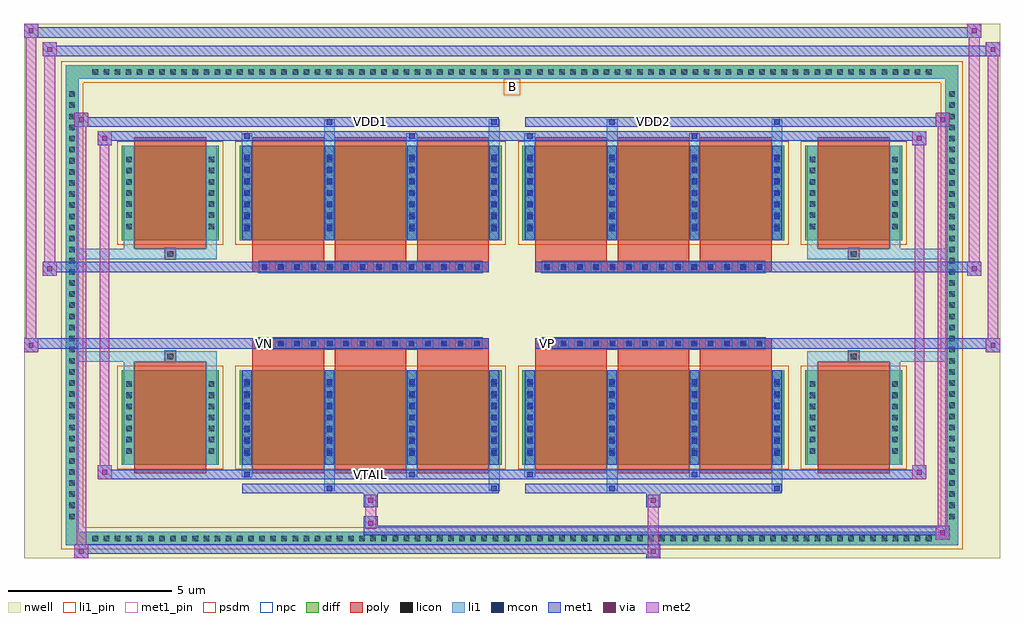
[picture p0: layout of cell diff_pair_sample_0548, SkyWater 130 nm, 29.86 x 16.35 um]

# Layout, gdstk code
import gdstk
lib = gdstk.Library(unit=1e-6, precision=5e-09)
def R(c, l, rs):  # rectangles x0, y0, x1, y1
    for r in rs: c.add(gdstk.rectangle(r[:2], r[2:], *l))
def A(c, l, x, y, w, h, nx, ny, dx, dy):  # array of equal rectangles
    R(c, l, [(x+i*dx, y+j*dy, x+i*dx+w, y+j*dy+h) for i in range(nx) for j in range(ny)])
def P(c, l, *ps):  # polygons
    for p in ps: c.add(gdstk.Polygon(p, *l))
nwell = (64, 20)
diff = (65, 20)
poly = (66, 20)
licon = (66, 44)
li1_pin = (67, 16)
li1 = (67, 20)
mcon = (67, 44)
met1_pin = (68, 16)
met1 = (68, 20)
via = (68, 44)
met2 = (69, 20)
psdm = (94, 20)
npc = (95, 20)

diff_pair_sample_0548 = lib.new_cell('diff_pair_sample_0548')
R(diff_pair_sample_0548, nwell, [(-14.93,-7.74,14.93,8.61), (-12.25,-5.93,-0.01,-0.805), (0.01,-5.93,12.25,-0.805), (-12.25,0.805,-0.01,5.93), (0.01,0.805,12.25,5.93)])
A(diff_pair_sample_0548, diff, -12.955, -7.34, 0.41, 0.41, 76, 2, 0.34, 14.27)
A(diff_pair_sample_0548, diff, -13.66, -6.665, 0.41, 0.41, 1, 39, 0, 0.34)
A(diff_pair_sample_0548, diff, 13.25, -6.665, 0.41, 0.41, 1, 39, 0, 0.34)
R(diff_pair_sample_0548, diff, [(-12.955,-7.34,12.955,-6.93), (-13.66,-6.665,-13.25,6.665), (13.25,-6.665,13.66,6.665), (-11.94,-4.885,-8.97,-1.985), (-8.33,-4.885,-0.32,-1.985), (0.32,-4.885,8.33,-1.985), (8.97,-4.885,11.94,-1.985), (-11.94,1.985,-8.97,4.885), (-8.33,1.985,-0.32,4.885), (0.32,1.985,8.33,4.885), (8.97,1.985,11.94,4.885), (-12.955,6.93,12.955,7.34)])
P(diff_pair_sample_0548, diff, [(13.66,7.34),(-13.66,7.34),(-13.66,-6.93),(-13.25,-6.93),(-13.25,6.93),(13.25,6.93),(13.25,-6.93),(-13.25,-6.93),(-13.66,-6.93),(-13.66,-7.34),(13.66,-7.34)])
A(diff_pair_sample_0548, poly, -7.94, -5.135, 2.19, 3.4, 3, 2, 2.52, 6.87)
A(diff_pair_sample_0548, poly, 0.71, -5.135, 2.19, 3.4, 3, 2, 2.52, 6.87)
A(diff_pair_sample_0548, poly, -7.94, -1.735, 2.19, 0.4, 3, 2, 2.52, 3.07)
A(diff_pair_sample_0548, poly, 0.71, -1.735, 2.19, 0.4, 3, 2, 2.52, 3.07)
A(diff_pair_sample_0548, poly, -7.74, -1.335, 0.33, 0.33, 14, 2, 0.5, 2.34)
A(diff_pair_sample_0548, poly, 0.91, -1.335, 0.33, 0.33, 14, 2, 0.5, 2.34)
R(diff_pair_sample_0548, poly, [(-11.55,-5.135,-9.36,-1.735), (9.36,-5.135,11.55,-1.735), (-10.62,-1.735,-10.29,-1.405), (-10.62,-1.735,-10.29,-1.405), (10.29,-1.735,10.62,-1.405), (10.29,-1.735,10.62,-1.405), (-7.94,-1.335,-0.71,-1.005), (0.71,-1.335,7.94,-1.005), (-7.94,1.005,-0.71,1.335), (0.71,1.005,7.94,1.335), (-10.62,1.405,-10.29,1.735), (-10.62,1.405,-10.29,1.735), (10.29,1.405,10.62,1.735), (10.29,1.405,10.62,1.735), (-11.55,1.735,-9.36,5.135), (9.36,1.735,11.55,5.135)])
A(diff_pair_sample_0548, licon, -12.835, -7.22, 0.17, 0.17, 76, 2, 0.34, 14.27)
A(diff_pair_sample_0548, licon, -13.54, -6.545, 0.17, 0.17, 1, 39, 0, 0.34)
A(diff_pair_sample_0548, licon, 13.37, -6.545, 0.17, 0.17, 1, 39, 0, 0.34)
A(diff_pair_sample_0548, licon, -11.8, -4.54, 0.17, 0.17, 1, 7, 0, 0.34)
A(diff_pair_sample_0548, licon, -9.28, -4.54, 0.17, 0.17, 1, 7, 0, 0.34)
A(diff_pair_sample_0548, licon, -8.19, -4.54, 0.17, 0.17, 4, 7, 2.52, 0.34)
A(diff_pair_sample_0548, licon, 0.46, -4.54, 0.17, 0.17, 4, 7, 2.52, 0.34)
A(diff_pair_sample_0548, licon, 9.11, -4.54, 0.17, 0.17, 1, 7, 0, 0.34)
A(diff_pair_sample_0548, licon, 11.63, -4.54, 0.17, 0.17, 1, 7, 0, 0.34)
A(diff_pair_sample_0548, licon, -7.66, -1.255, 0.17, 0.17, 14, 2, 0.5, 2.34)
A(diff_pair_sample_0548, licon, 0.99, -1.255, 0.17, 0.17, 14, 2, 0.5, 2.34)
A(diff_pair_sample_0548, licon, -11.8, 2.33, 0.17, 0.17, 1, 7, 0, 0.34)
A(diff_pair_sample_0548, licon, -9.28, 2.33, 0.17, 0.17, 1, 7, 0, 0.34)
A(diff_pair_sample_0548, licon, -8.19, 2.33, 0.17, 0.17, 4, 7, 2.52, 0.34)
A(diff_pair_sample_0548, licon, 0.46, 2.33, 0.17, 0.17, 4, 7, 2.52, 0.34)
A(diff_pair_sample_0548, licon, 9.11, 2.33, 0.17, 0.17, 1, 7, 0, 0.34)
A(diff_pair_sample_0548, licon, 11.63, 2.33, 0.17, 0.17, 1, 7, 0, 0.34)
R(diff_pair_sample_0548, licon, [(-10.54,-1.655,-10.37,-1.485), (10.37,-1.655,10.54,-1.485), (-10.54,1.485,-10.37,1.655), (10.37,1.485,10.54,1.655)])
R(diff_pair_sample_0548, li1_pin, [(-0.25,6.43,0.25,6.93)])
A(diff_pair_sample_0548, li1, -12.915, -7.3, 0.33, 0.33, 76, 2, 0.34, 14.27)
A(diff_pair_sample_0548, li1, -13.62, -6.625, 0.33, 0.33, 1, 39, 0, 0.34)
A(diff_pair_sample_0548, li1, 13.29, -6.625, 0.33, 0.33, 1, 39, 0, 0.34)
A(diff_pair_sample_0548, li1, -8.27, -4.885, 0.33, 2.9, 4, 2, 2.52, 6.87)
A(diff_pair_sample_0548, li1, 0.38, -4.885, 0.33, 2.9, 4, 2, 2.52, 6.87)
A(diff_pair_sample_0548, li1, -11.88, -4.62, 0.33, 0.33, 1, 7, 0, 0.34)
A(diff_pair_sample_0548, li1, -9.36, -4.62, 0.33, 0.33, 1, 7, 0, 0.34)
A(diff_pair_sample_0548, li1, -8.27, -4.62, 0.33, 0.33, 4, 7, 2.52, 0.34)
A(diff_pair_sample_0548, li1, 0.38, -4.62, 0.33, 0.33, 4, 7, 2.52, 0.34)
A(diff_pair_sample_0548, li1, 9.03, -4.62, 0.33, 0.33, 1, 7, 0, 0.34)
A(diff_pair_sample_0548, li1, 11.55, -4.62, 0.33, 0.33, 1, 7, 0, 0.34)
A(diff_pair_sample_0548, li1, -8.19, -4.6, 0.17, 0.17, 4, 7, 2.52, 0.36)
A(diff_pair_sample_0548, li1, -8.19, -4.6, 0.17, 2.33, 4, 2, 2.52, 6.87)
A(diff_pair_sample_0548, li1, 0.46, -4.6, 0.17, 0.17, 4, 7, 2.52, 0.36)
A(diff_pair_sample_0548, li1, 0.46, -4.6, 0.17, 2.33, 4, 2, 2.52, 6.87)
A(diff_pair_sample_0548, li1, -7.74, -1.335, 0.33, 0.33, 14, 2, 0.5, 2.34)
A(diff_pair_sample_0548, li1, 0.91, -1.335, 0.33, 0.33, 14, 2, 0.5, 2.34)
A(diff_pair_sample_0548, li1, -11.88, 2.25, 0.33, 0.33, 1, 7, 0, 0.34)
A(diff_pair_sample_0548, li1, -9.36, 2.25, 0.33, 0.33, 1, 7, 0, 0.34)
A(diff_pair_sample_0548, li1, -8.27, 2.25, 0.33, 0.33, 4, 7, 2.52, 0.34)
A(diff_pair_sample_0548, li1, 0.38, 2.25, 0.33, 0.33, 4, 7, 2.52, 0.34)
A(diff_pair_sample_0548, li1, 9.03, 2.25, 0.33, 0.33, 1, 7, 0, 0.34)
A(diff_pair_sample_0548, li1, 11.55, 2.25, 0.33, 0.33, 1, 7, 0, 0.34)
A(diff_pair_sample_0548, li1, -8.19, 2.27, 0.17, 0.17, 4, 7, 2.52, 0.36)
A(diff_pair_sample_0548, li1, 0.46, 2.27, 0.17, 0.17, 4, 7, 2.52, 0.36)
R(diff_pair_sample_0548, li1, [(-13.66,-7.34,-13.25,-6.93), (-13.66,-7.34,-13.25,-6.93), (-13.25,-7.34,13.25,-6.93), (13.25,-7.34,13.66,-6.93), (13.25,-7.34,13.66,-6.93), (-13.66,-6.93,-13.25,6.93), (13.25,-6.93,13.66,6.93), (-5.75,-5.69,-5.42,-4.885), (-5.67,-5.69,-5.5,-5.52), (-0.71,-5.69,-0.38,-4.885), (-0.63,-5.69,-0.46,-5.52), (2.9,-5.69,3.23,-4.885), (2.98,-5.69,3.15,-5.52), (7.94,-5.69,8.27,-4.885), (8.02,-5.69,8.19,-5.52), (-8.27,-5.26,-7.94,-4.885), (-8.19,-5.26,-8.02,-5.09), (-3.23,-5.26,-2.9,-4.885), (-3.15,-5.26,-2.98,-5.09), (0.38,-5.26,0.71,-4.885), (0.46,-5.26,0.63,-5.09), (5.42,-5.26,5.75,-4.885), (5.5,-5.26,5.67,-5.09), (-11.88,-4.885,-11.55,-1.985), (-9.36,-4.885,-9.03,-1.985), (9.03,-4.885,9.36,-1.985), (11.55,-4.885,11.88,-1.985), (-11.88,-1.985,-11.55,-1.405), (-9.36,-1.985,-9.03,-1.405), (9.03,-1.985,9.36,-1.405), (11.55,-1.985,11.88,-1.405), (-13.66,-1.735,-10.62,-1.405), (-11.88,-1.735,-10.62,-1.405), (-10.62,-1.735,-10.29,-1.405), (-10.29,-1.735,-9.03,-1.405), (9.03,-1.735,10.29,-1.405), (10.29,-1.735,10.62,-1.405), (10.29,-1.735,13.66,-1.405), (10.62,-1.735,11.88,-1.405), (-13.66,1.405,-10.62,1.735), (-11.88,1.405,-10.62,1.735), (-11.88,1.405,-11.55,1.985), (-10.62,1.405,-10.29,1.735), (-10.29,1.405,-9.03,1.735), (-9.36,1.405,-9.03,1.985), (9.03,1.405,10.29,1.735), (9.03,1.405,9.36,1.985), (10.29,1.405,10.62,1.735), (10.29,1.405,13.66,1.735), (10.62,1.405,11.88,1.735), (11.55,1.405,11.88,1.985), (-11.88,1.985,-11.55,4.885), (-9.36,1.985,-9.03,4.885), (9.03,1.985,9.36,4.885), (11.55,1.985,11.88,4.885), (-8.27,4.885,-7.94,5.26), (-5.75,4.885,-5.42,5.69), (-3.23,4.885,-2.9,5.26), (-0.71,4.885,-0.38,5.69), (0.38,4.885,0.71,5.26), (2.9,4.885,3.23,5.69), (5.42,4.885,5.75,5.26), (7.94,4.885,8.27,5.69), (-8.19,5.09,-8.02,5.26), (-3.15,5.09,-2.98,5.26), (0.46,5.09,0.63,5.26), (5.5,5.09,5.67,5.26), (-5.67,5.52,-5.5,5.69), (-0.63,5.52,-0.46,5.69), (2.98,5.52,3.15,5.69), (8.02,5.52,8.19,5.69), (-13.66,6.93,-13.25,7.34), (-13.66,6.93,-13.25,7.34), (-13.25,6.93,13.25,7.34), (13.25,6.93,13.66,7.34), (13.25,6.93,13.66,7.34)])
A(diff_pair_sample_0548, mcon, -8.19, -4.6, 0.17, 0.17, 4, 7, 2.52, 0.36)
A(diff_pair_sample_0548, mcon, 0.46, -4.6, 0.17, 0.17, 4, 7, 2.52, 0.36)
A(diff_pair_sample_0548, mcon, -7.66, -1.255, 0.17, 0.17, 14, 2, 0.5, 2.34)
A(diff_pair_sample_0548, mcon, 0.99, -1.255, 0.17, 0.17, 14, 2, 0.5, 2.34)
A(diff_pair_sample_0548, mcon, -8.19, 2.27, 0.17, 0.17, 4, 7, 2.52, 0.36)
A(diff_pair_sample_0548, mcon, 0.46, 2.27, 0.17, 0.17, 4, 7, 2.52, 0.36)
R(diff_pair_sample_0548, mcon, [(-5.67,-5.69,-5.5,-5.52), (-0.63,-5.69,-0.46,-5.52), (2.98,-5.69,3.15,-5.52), (8.02,-5.69,8.19,-5.52), (-8.19,-5.26,-8.02,-5.09), (-3.15,-5.26,-2.98,-5.09), (0.46,-5.26,0.63,-5.09), (5.5,-5.26,5.67,-5.09), (-8.19,5.09,-8.02,5.26), (-3.15,5.09,-2.98,5.26), (0.46,5.09,0.63,5.26), (5.5,5.09,5.67,5.26), (-5.67,5.52,-5.5,5.69), (-0.63,5.52,-0.46,5.69), (2.98,5.52,3.15,5.69), (8.02,5.52,8.19,5.69)])
R(diff_pair_sample_0548, met1_pin, [(-4.46,-5.3,-4.19,-5.03), (-7.71,-1.295,-7.44,-1.025), (0.94,-1.295,1.21,-1.025), (-4.46,5.48,-4.19,5.75), (4.19,5.48,4.46,5.75)])
A(diff_pair_sample_0548, met1, -8.25, -4.885, 0.29, 2.9, 4, 2, 2.52, 6.87)
A(diff_pair_sample_0548, met1, 0.4, -4.885, 0.29, 2.9, 4, 2, 2.52, 6.87)
A(diff_pair_sample_0548, met1, -8.25, -4.66, 0.29, 0.29, 4, 7, 2.52, 0.36)
A(diff_pair_sample_0548, met1, 0.4, -4.66, 0.29, 0.29, 4, 7, 2.52, 0.36)
A(diff_pair_sample_0548, met1, -7.72, -1.315, 0.29, 0.29, 14, 2, 0.5, 2.34)
A(diff_pair_sample_0548, met1, 0.93, -1.315, 0.29, 0.29, 14, 2, 0.5, 2.34)
A(diff_pair_sample_0548, met1, -8.25, 2.21, 0.29, 0.29, 4, 7, 2.52, 0.36)
A(diff_pair_sample_0548, met1, 0.4, 2.21, 0.29, 0.29, 4, 7, 2.52, 0.36)
R(diff_pair_sample_0548, met1, [(-13.39,-7.74,-12.96,-7.31), (4.11,-7.74,4.54,-7.31), (-13.39,-7.6,4.54,-7.31), (12.96,-7.17,13.39,-6.74), (-4.54,-7.03,13.39,-6.74), (-4.54,-6.89,-4.11,-6.46), (-4.54,-6.18,-4.11,-5.75), (4.11,-6.18,4.54,-5.75), (-8.25,-5.75,-0.4,-5.46), (-5.73,-5.75,-5.44,-5.46), (-0.69,-5.75,-0.4,-5.46), (0.4,-5.75,8.25,-5.46), (2.92,-5.75,3.21,-5.46), (7.96,-5.75,8.25,-5.46), (-12.68,-5.32,-12.25,-4.89), (-12.68,-5.32,-8.25,-5.03), (-8.25,-5.32,-7.96,-5.03), (-8.25,-5.32,-0.4,-5.03), (-3.21,-5.32,-2.92,-5.03), (-0.4,-5.32,0.4,-5.03), (0.4,-5.32,0.69,-5.03), (0.4,-5.32,8.25,-5.03), (5.44,-5.32,5.73,-5.03), (8.25,-5.32,12.68,-5.03), (12.25,-5.32,12.68,-4.89), (-14.93,-1.435,-14.5,-1.005), (14.5,-1.435,14.93,-1.005), (-14.93,-1.335,-0.71,-1.005), (-7.94,-1.335,-0.71,-1.005), (0.71,-1.335,7.94,-1.005), (0.71,-1.335,14.93,-1.005), (-14.36,0.905,-13.93,1.335), (13.93,0.905,14.36,1.335), (-14.36,1.005,-7.94,1.335), (-7.94,1.005,-0.71,1.335), (0.71,1.005,7.94,1.335), (7.94,1.005,14.36,1.335), (-12.68,4.89,-12.25,5.32), (12.25,4.89,12.68,5.32), (-12.68,5.03,-8.25,5.32), (-8.25,5.03,-7.96,5.32), (-8.25,5.03,-0.4,5.32), (-3.21,5.03,-2.92,5.32), (-0.4,5.03,0.4,5.32), (0.4,5.03,0.69,5.32), (0.4,5.03,8.25,5.32), (5.44,5.03,5.73,5.32), (8.25,5.03,12.68,5.32), (-13.39,5.46,-12.96,5.89), (-13.39,5.46,-8.25,5.75), (-8.25,5.46,-0.4,5.75), (-5.73,5.46,-5.44,5.75), (-0.69,5.46,-0.4,5.75), (0.4,5.46,8.25,5.75), (2.92,5.46,3.21,5.75), (7.96,5.46,8.25,5.75), (8.25,5.46,13.39,5.75), (12.96,5.46,13.39,5.89), (-14.36,7.61,-13.93,8.04), (-14.36,7.61,-12.25,7.94), (-12.25,7.61,12.25,7.94), (12.25,7.61,14.93,7.94), (14.5,7.61,14.93,8.04), (-14.93,8.18,-14.5,8.61), (-14.93,8.18,-12.25,8.51), (-12.25,8.18,12.25,8.51), (12.25,8.18,14.36,8.51), (13.93,8.18,14.36,8.61)])
R(diff_pair_sample_0548, via, [(-13.25,-7.6,-13.1,-7.45), (4.25,-7.6,4.4,-7.45), (13.1,-7.03,13.25,-6.88), (-4.4,-6.75,-4.25,-6.6), (-4.4,-6.04,-4.25,-5.89), (4.25,-6.04,4.4,-5.89), (-12.54,-5.18,-12.39,-5.03), (12.39,-5.18,12.54,-5.03), (-14.79,-1.295,-14.64,-1.145), (14.64,-1.295,14.79,-1.145), (-14.22,1.045,-14.07,1.195), (14.07,1.045,14.22,1.195), (-12.54,5.03,-12.39,5.18), (12.39,5.03,12.54,5.18), (-13.25,5.6,-13.1,5.75), (13.1,5.6,13.25,5.75), (-14.22,7.75,-14.07,7.9), (14.64,7.75,14.79,7.9), (-14.79,8.32,-14.64,8.47), (14.07,8.32,14.22,8.47)])
R(diff_pair_sample_0548, met2, [(-13.39,-7.74,-12.96,-7.31), (-13.32,-7.74,-13.03,5.89), (-13.03,-7.74,-12.96,-7.31), (-13.34,-7.69,-13.01,-7.36), (4.16,-7.69,4.49,-7.36), (4.16,-7.36,4.49,-6.13), (12.96,-7.17,13.39,-6.74), (13.03,-7.17,13.32,5.89), (13.32,-7.17,13.39,-6.74), (13.01,-7.12,13.34,-6.79), (-4.49,-6.84,-4.16,-6.51), (-4.49,-6.51,-4.16,-6.13), (-4.49,-6.13,-4.16,-5.8), (4.16,-6.13,4.49,-5.8), (-12.68,-5.32,-12.25,-4.89), (-12.61,-5.32,-12.32,5.32), (-12.32,-5.32,-12.25,-4.89), (12.25,-5.32,12.68,-4.89), (12.32,-5.32,12.61,5.32), (12.61,-5.32,12.68,-4.89), (-12.63,-5.27,-12.3,-4.94), (12.3,-5.27,12.63,-4.94), (-14.93,-1.435,-14.5,-1.005), (-14.88,-1.435,-14.55,8.61), (-14.55,-1.435,-14.5,-1.005), (14.5,-1.435,14.93,-1.005), (14.55,-1.435,14.88,8.04), (14.88,-1.435,14.93,-1.005), (-14.88,-1.385,-14.55,-1.055), (14.55,-1.385,14.88,-1.055), (-14.36,0.905,-13.93,1.335), (-14.31,0.905,-13.98,8.04), (-13.98,0.905,-13.93,1.335), (13.93,0.905,14.36,1.335), (13.98,0.905,14.31,8.61), (14.31,0.905,14.36,1.335), (-14.31,0.955,-13.98,1.285), (13.98,0.955,14.31,1.285), (-12.68,4.89,-12.25,5.32), (-12.32,4.89,-12.25,5.32), (12.25,4.89,12.68,5.32), (12.61,4.89,12.68,5.32), (-12.63,4.94,-12.3,5.27), (12.3,4.94,12.63,5.27), (-13.39,5.46,-12.96,5.89), (-13.03,5.46,-12.96,5.89), (12.96,5.46,13.39,5.89), (13.32,5.46,13.39,5.89), (-13.34,5.51,-13.01,5.84), (13.01,5.51,13.34,5.84), (-14.36,7.61,-13.93,8.04), (-13.98,7.61,-13.93,8.04), (14.5,7.61,14.93,8.04), (14.88,7.61,14.93,8.04), (-14.31,7.66,-13.98,7.99), (14.55,7.66,14.88,7.99), (-14.93,8.18,-14.5,8.61), (-14.55,8.18,-14.5,8.61), (13.93,8.18,14.36,8.61), (14.31,8.18,14.36,8.61), (-14.88,8.23,-14.55,8.56), (13.98,8.23,14.31,8.56)])
R(diff_pair_sample_0548, psdm, [(-12.07,-5.015,-8.84,-1.855), (-8.46,-5.015,-0.19,-1.855), (0.19,-5.015,8.46,-1.855), (8.84,-5.015,12.07,-1.855), (-12.07,1.855,-8.84,5.015), (-8.46,1.855,-0.19,5.015), (0.19,1.855,8.46,5.015), (8.84,1.855,12.07,5.015)])
P(diff_pair_sample_0548, psdm, [(13.79,7.47),(-13.79,7.47),(-13.79,-6.8),(-13.12,-6.8),(-13.12,6.8),(13.12,6.8),(13.12,-6.8),(-13.12,-6.8),(-13.79,-6.8),(-13.79,-7.47),(13.79,-7.47)])
A(diff_pair_sample_0548, npc, -7.76, -1.355, 0.37, 0.37, 14, 2, 0.5, 2.34)
A(diff_pair_sample_0548, npc, 0.89, -1.355, 0.37, 0.37, 14, 2, 0.5, 2.34)
R(diff_pair_sample_0548, npc, [(-10.64,-1.755,-10.27,-1.385), (10.27,-1.755,10.64,-1.385), (-7.76,-1.355,-6.89,-0.985), (-7.76,-1.355,-6.89,-0.985), (-7.26,-1.355,-6.39,-0.985), (-7.26,-1.355,-6.39,-0.985), (-6.76,-1.355,-5.89,-0.985), (-6.76,-1.355,-5.89,-0.985), (-6.26,-1.355,-5.39,-0.985), (-6.26,-1.355,-5.39,-0.985), (-5.76,-1.355,-4.89,-0.985), (-5.76,-1.355,-4.89,-0.985), (-5.26,-1.355,-4.39,-0.985), (-5.26,-1.355,-4.39,-0.985), (-4.76,-1.355,-3.89,-0.985), (-4.76,-1.355,-3.89,-0.985), (-4.26,-1.355,-3.39,-0.985), (-4.26,-1.355,-3.39,-0.985), (-3.76,-1.355,-2.89,-0.985), (-3.76,-1.355,-2.89,-0.985), (-3.26,-1.355,-2.39,-0.985), (-3.26,-1.355,-2.39,-0.985), (-2.76,-1.355,-1.89,-0.985), (-2.76,-1.355,-1.89,-0.985), (-2.26,-1.355,-1.39,-0.985), (-2.26,-1.355,-1.39,-0.985), (-1.76,-1.355,-0.89,-0.985), (-1.76,-1.355,-0.89,-0.985), (0.89,-1.355,1.76,-0.985), (0.89,-1.355,1.76,-0.985), (1.39,-1.355,2.26,-0.985), (1.39,-1.355,2.26,-0.985), (1.89,-1.355,2.76,-0.985), (1.89,-1.355,2.76,-0.985), (2.39,-1.355,3.26,-0.985), (2.39,-1.355,3.26,-0.985), (2.89,-1.355,3.76,-0.985), (2.89,-1.355,3.76,-0.985), (3.39,-1.355,4.26,-0.985), (3.39,-1.355,4.26,-0.985), (3.89,-1.355,4.76,-0.985), (3.89,-1.355,4.76,-0.985), (4.39,-1.355,5.26,-0.985), (4.39,-1.355,5.26,-0.985), (4.89,-1.355,5.76,-0.985), (4.89,-1.355,5.76,-0.985), (5.39,-1.355,6.26,-0.985), (5.39,-1.355,6.26,-0.985), (5.89,-1.355,6.76,-0.985), (5.89,-1.355,6.76,-0.985), (6.39,-1.355,7.26,-0.985), (6.39,-1.355,7.26,-0.985), (6.89,-1.355,7.76,-0.985), (6.89,-1.355,7.76,-0.985), (-7.76,0.985,-6.89,1.355), (-7.76,0.985,-6.89,1.355), (-7.26,0.985,-6.39,1.355), (-7.26,0.985,-6.39,1.355), (-6.76,0.985,-5.89,1.355), (-6.76,0.985,-5.89,1.355), (-6.26,0.985,-5.39,1.355), (-6.26,0.985,-5.39,1.355), (-5.76,0.985,-4.89,1.355), (-5.76,0.985,-4.89,1.355), (-5.26,0.985,-4.39,1.355), (-5.26,0.985,-4.39,1.355), (-4.76,0.985,-3.89,1.355), (-4.76,0.985,-3.89,1.355), (-4.26,0.985,-3.39,1.355), (-4.26,0.985,-3.39,1.355), (-3.76,0.985,-2.89,1.355), (-3.76,0.985,-2.89,1.355), (-3.26,0.985,-2.39,1.355), (-3.26,0.985,-2.39,1.355), (-2.76,0.985,-1.89,1.355), (-2.76,0.985,-1.89,1.355), (-2.26,0.985,-1.39,1.355), (-2.26,0.985,-1.39,1.355), (-1.76,0.985,-0.89,1.355), (-1.76,0.985,-0.89,1.355), (0.89,0.985,1.76,1.355), (0.89,0.985,1.76,1.355), (1.39,0.985,2.26,1.355), (1.39,0.985,2.26,1.355), (1.89,0.985,2.76,1.355), (1.89,0.985,2.76,1.355), (2.39,0.985,3.26,1.355), (2.39,0.985,3.26,1.355), (2.89,0.985,3.76,1.355), (2.89,0.985,3.76,1.355), (3.39,0.985,4.26,1.355), (3.39,0.985,4.26,1.355), (3.89,0.985,4.76,1.355), (3.89,0.985,4.76,1.355), (4.39,0.985,5.26,1.355), (4.39,0.985,5.26,1.355), (4.89,0.985,5.76,1.355), (4.89,0.985,5.76,1.355), (5.39,0.985,6.26,1.355), (5.39,0.985,6.26,1.355), (5.89,0.985,6.76,1.355), (5.89,0.985,6.76,1.355), (6.39,0.985,7.26,1.355), (6.39,0.985,7.26,1.355), (6.89,0.985,7.76,1.355), (6.89,0.985,7.76,1.355), (-10.64,1.385,-10.27,1.755), (10.27,1.385,10.64,1.755)])
diff_pair_sample_0548.add(gdstk.Label('VTAIL', (-4.325,-5.165), layer=68, texttype=5))
diff_pair_sample_0548.add(gdstk.Label('VN', (-7.575,-1.16), layer=68, texttype=5))
diff_pair_sample_0548.add(gdstk.Label('VP', (1.075,-1.16), layer=68, texttype=5))
diff_pair_sample_0548.add(gdstk.Label('B', (0,6.68), layer=67, texttype=5))
diff_pair_sample_0548.add(gdstk.Label('VDD2', (4.325,5.615), layer=68, texttype=5))
diff_pair_sample_0548.add(gdstk.Label('VDD1', (-4.325,5.615), layer=68, texttype=5))

lib.write_gds('diff_pair_sample_0548.gds')
